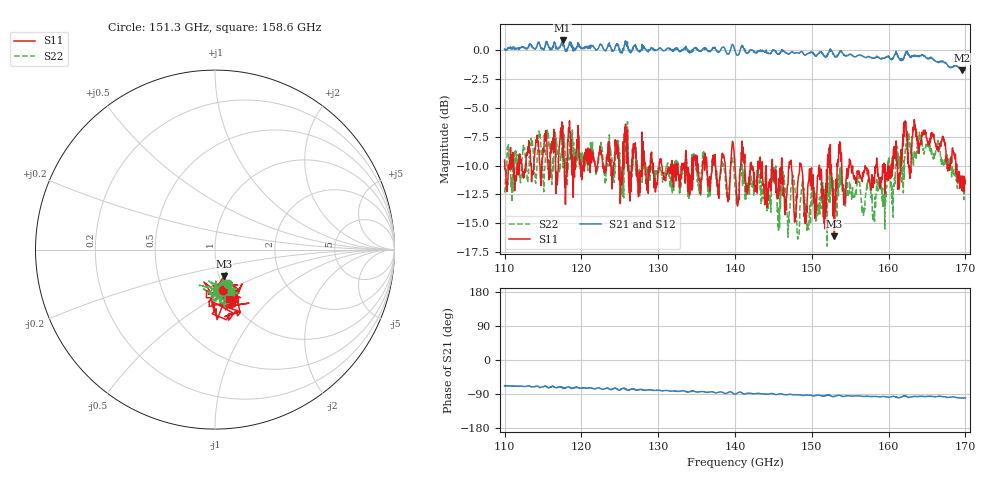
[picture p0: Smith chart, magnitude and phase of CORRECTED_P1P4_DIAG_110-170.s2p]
! Generated by Phase II Calibration
# Hz S RI R 50
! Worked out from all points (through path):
!   1471 points, 110 GHz to 170 GHz, reference 50 ohm
!   highest |S21| = 0.84 dB at 117.6 GHz (marker M1); lowest = -1.7 dB at 169.6 GHz (marker M2)
!   group delay of S21, straight-line fit = 1.53 ps
!   lowest |S11| = -16.1 dB at 152.9 GHz (marker M3), VSWR 1.37, Z = 52.7 - j16 ohm
!   |S11| at or under -10 dB: 143.6 GHz to 144.8 GHz (1.262 GHz wide, 0.875 % of centre); 148.6 GHz to 151 GHz (2.374 GHz wide, 1.58 % of centre); 155.1 GHz to 158.4 GHz (3.266 GHz wide, 2.08 % of centre)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
!   |S22| runs from -17.0 to -6.2 dB; largest |S21 - S12| = 0.02
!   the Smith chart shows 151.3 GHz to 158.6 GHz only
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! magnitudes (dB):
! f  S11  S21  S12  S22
! 110 GHz  -9.5  0.1  0.1  -12.3
! 117.6 GHz  -6.5  0.8  0.8  -6.6
! 120 GHz  -10.3  0.2  0.2  -9.2
! 125.7 GHz  -7.0  0.7  0.7  -8.1
! 130 GHz  -10.5  0.1  0.1  -10.2
! 140 GHz  -10.1  -0.1  -0.1  -11.8
! 146.6 GHz  -12.9  -0.2  -0.2  -11.9
! 147.2 GHz  -9.9  -0.2  -0.3  -13.1
! 147.8 GHz  -14.8  -0.3  -0.2  -12.3
! 148.5 GHz  -9.9  -0.2  -0.3  -13.0
! 149.1 GHz  -15.0  -0.4  -0.3  -13.3
! 150 GHz  -11.1  -0.2  -0.2  -12.7
! 151.6 GHz  -13.3  -0.5  -0.5  -12.6
! 152.3 GHz  -8.8  -0.1  -0.1  -11.1
! 152.9 GHz  -16.1  -0.6  -0.5  -15.1
! 153.6 GHz  -8.9  -0.3  -0.3  -11.8
! 154.2 GHz  -12.9  -0.5  -0.4  -12.5
! 158.1 GHz  -11.2  -0.7  -0.7  -14.3
! 160 GHz  -10.2  -0.5  -0.5  -9.3
! 163.3 GHz  -6.0  -0.4  -0.5  -8.7
! 169.6 GHz  -11.1  -1.7  -1.7  -11.9
! 170 GHz  -11.4  -1.7  -1.7  -11.8
